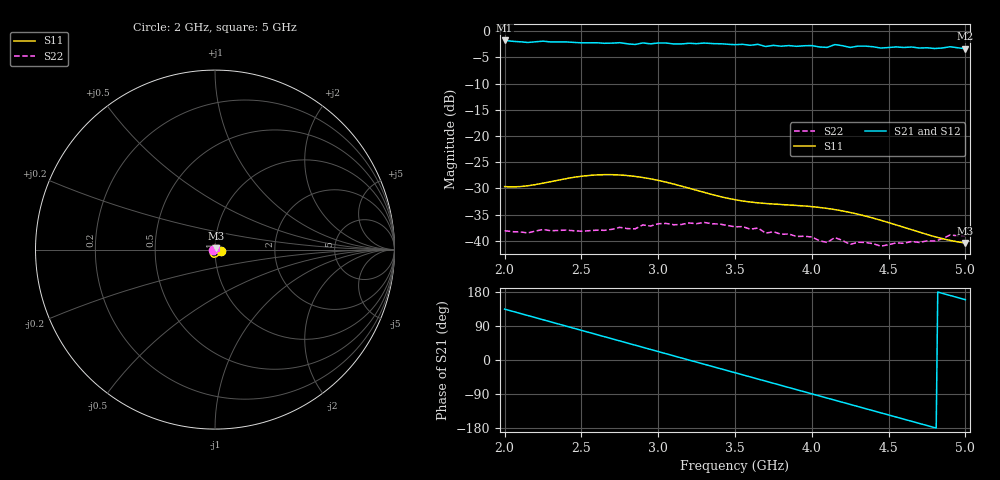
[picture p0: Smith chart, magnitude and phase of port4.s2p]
!Created with skrf (http://scikit-rf.org).
# MHz S RI R 50.0
!freq ReS11 ImS11 ReS21 ImS21 ReS12 ImS12 ReS22 ImS22
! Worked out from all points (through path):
!   301 points, 2 GHz to 5 GHz, reference 50 ohm
!   highest |S21| = -1.79 dB at 2 GHz (marker M1); lowest = -3.4 dB at 5 GHz (marker M2)
!   group delay of S21, straight-line fit = 310 ps
!   lowest |S11| = -40.4 dB at 5 GHz (marker M3), VSWR 1.02, Z = 50.6 + j0.712 ohm
!   |S11| at or under -10 dB: start of sweep to end of sweep
!   |S22| runs from -41.0 to -36.5 dB; largest |S21 - S12| = 0
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2000  0.0324 -0.00565  -0.5678 0.5825  -0.5678 0.5825  -0.0122 -0.00249
2150  0.0266 -0.0203  -0.3586 0.6907  -0.3586 0.6907  -0.0117 0.0021
2250  0.0209 -0.0287  -0.2238 0.7691  -0.2238 0.7691  -0.0117 0.0053
2400  0.0106 -0.0378  0.00808 0.7877  0.00808 0.7877  -0.00893 0.00897
2500  0.00326 -0.0412  0.1578 0.7558  0.1578 0.7558  -0.00643 0.0106
2750  -0.0135 -0.0403  0.4956 0.5954  0.4956 0.5954  0.000356 0.0135
2850  -0.0187 -0.0366  0.5785 0.4691  0.5785 0.4691  0.00309 0.0126
3000  -0.0244 -0.0287  0.7121 0.2916  0.7121 0.2916  0.00785 0.0123
3300  -0.0276 -0.00872  0.7538 -0.1498  0.7538 -0.1498  0.0144 0.00395
3500  -0.0244 0.00382  0.6183 -0.4101  0.6183 -0.4101  0.0131 -0.00369
3650  -0.0201 0.0113  0.4773 -0.5747  0.4773 -0.5747  0.0101 -0.00857
3750  -0.0167 0.015  0.3492 -0.6415  0.3492 -0.6415  0.0066 -0.0103
4000  -0.00788 0.0197  0.00884 -0.7267  0.00884 -0.7267  -0.00235 -0.0106
4100  -0.00465 0.0198  -0.1266 -0.6865  -0.1266 -0.6865  -0.00507 -0.00821
4150  -0.00317 0.0196  -0.2051 -0.7142  -0.2051 -0.7142  -0.00714 -0.00805
4250  -0.00053 0.0186  -0.3188 -0.6212  -0.3188 -0.6212  -0.00814 -0.00437
4350  0.00164 0.0172  -0.4452 -0.5634  -0.4452 -0.5634  -0.00957 -0.00128
4500  0.00398 0.0144  -0.5709 -0.3992  -0.5709 -0.3992  -0.00842 0.0037
4650  0.00538 0.0116  -0.6692 -0.2204  -0.6692 -0.2204  -0.00574 0.00804
4750  0.00591 0.00986  -0.6875 -0.0853  -0.6875 -0.0853  -0.0027 0.00964
4900  0.00631 0.00788  -0.6986 0.119  -0.6986 0.119  0.00251 0.0111
5000  0.00645 0.00703  -0.6343 0.2413  -0.6343 0.2413  0.00568 0.0095
